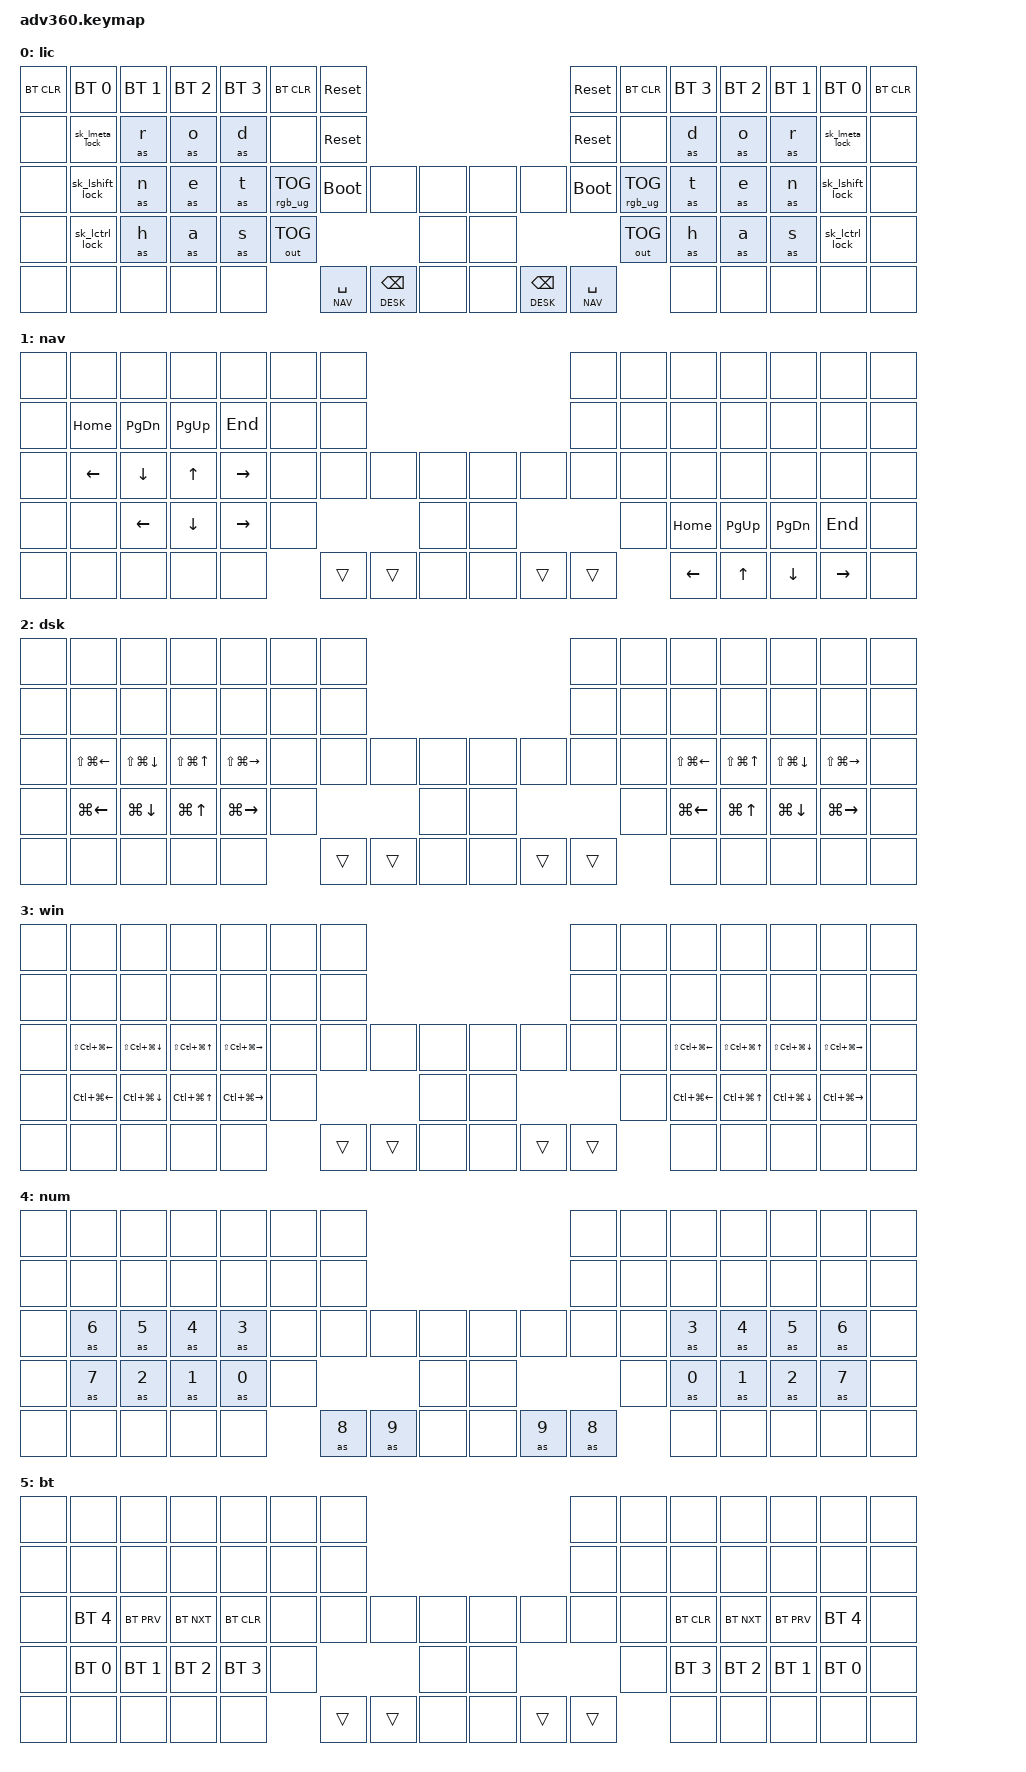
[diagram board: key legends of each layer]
#include <dt-bindings/zmk/backlight.h>
#include <dt-bindings/zmk/rgb.h>
#include <dt-bindings/zmk/outputs.h>
#include <dt-bindings/zmk/bt.h>
#include <dt-bindings/zmk/keys.h>
#include <dt-bindings/zmk/pointing.h>
#include <behaviors.dtsi>

// BOUGIE KEYS
// LEFT SIDE
#define TLP 15
#define TLR 16
#define TLM 17
#define TLI 18
#define HLP 29
#define HLR 30
#define HLM 31
#define HLI 32
#define BLP 43
#define BLR 44
#define BLM 45
#define BLI 46
#define LIT 65
#define LOT 66
// RIGHT SIDE
#define TRP 26
#define TRR 25
#define TRM 24
#define TRI 23
#define HRP 40
#define HRR 41
#define HRM 42
#define HRI 43
#define BRP 54
#define BRR 53
#define BRM 52
#define BRI 51
#define ROT 69
#define RIT 70
// LAYERS
#define DEF  0
#define NAV  1
#define DESK  2
#define WIN  3
#define NUM  4
#define BT   5
// CONFIG
#define COMBO_TIMEOUT 70
#define COMBO_LAYERS DEF NAV DESK WIN NUM BT
#define STICKY_TIMEOUT 1000
#define HOLD_TAP_TIMEOUT 190
// BEHAVIOR REDEFINITIONS
&sk {
    release-after-ms = <STICKY_TIMEOUT>;
    quick-release;
    /delete-property/ ignore-modifiers;
};
&sl {
    release-after-ms = <STICKY_TIMEOUT>;
    quick-release;
    /delete-property/ ignore-modifiers;
};

/ {
    behaviors {
        #include "behaviors.dtsi"
    };

    macros {
        #include "macros.dtsi"
    };

    backlight {
        compatible = "zmk,backlight";
    };

    combos {
        compatible = "zmk,combos";
        #include "combos.dtsi"
    };

    keymap {
        compatible = "zmk,keymap";

        lic {
            display-name = "lic";
            bindings = <
&bt BT_CLR &bt BT_SEL 0       &bt BT_SEL 1 &bt BT_SEL 2 &bt BT_SEL 3 &bt BT_CLR      &sys_reset                                                               &sys_reset   &bt BT_CLR      &bt BT_SEL 3 &bt BT_SEL 2 &bt BT_SEL 1 &bt BT_SEL 0       &bt BT_CLR
&none      &sk_lmeta_lock     &as r        &as o        &as d        &none           &sys_reset                                                               &sys_reset   &none           &as d        &as o        &as r        &sk_lmeta_lock     &none
&none      &sk_lshift_lock    &as n        &as e        &as t        &rgb_ug RGB_TOG &bootloader    &none          &none            &none  &none              &bootloader  &rgb_ug RGB_TOG &as t        &as e        &as n        &sk_lshift_lock    &none
&none      &sk_lctrl_lock     &as h        &as a        &as s        &out OUT_TOG                                  &none            &none                                  &out OUT_TOG    &as h        &as a        &as s        &sk_lctrl_lock     &none
&none      &none              &none        &none        &none                        &lt NAV SPC    &lt DESK BSPC  &none            &none  &lt DESK BSPC      &lt NAV SPC                  &none        &none        &none        &none              &none
            >;
        };

        navigation {
            display-name = "nav";
            bindings = <
&none  &none     &none      &none      &none      &none  &none                                     &none   &none  &none     &none      &none      &none      &none
&none  &kp HOME  &kp PG_DN  &kp PG_UP  &kp END    &none  &none                                     &none   &none  &none     &none      &none      &none      &none
&none  &kp LEFT  &kp DOWN   &kp UP     &kp RIGHT  &none  &none   &none   &none      &none  &none   &none   &none  &none     &none      &none      &none      &none
&none  &none     &kp LEFT   &kp DOWN   &kp RIGHT  &none                  &none      &none                  &none  &kp HOME  &kp PG_UP  &kp PG_DN  &kp END    &none
&none  &none     &none      &none      &none             &trans  &trans  &none      &none  &trans  &trans         &kp LEFT  &kp UP     &kp DOWN   &kp RIGHT  &none
            >;
        };


        desktop {
            display-name = "dsk";
            bindings = <
&none  &none             &none             &none           &none                &none   &none                                &none   &none  &none             &none           &none             &none              &none
&none  &none             &none             &none           &none                &none   &none                                &none   &none  &none             &none           &none             &none              &none
&none  &kp LS(LG(LEFT))  &kp LS(LG(DOWN))  &kp LS(LG(UP))  &kp LS(LG(RIGHT))    &none   &none   &none  &none  &none  &none   &none   &none  &kp LS(LG(LEFT))  &kp LS(LG(UP))  &kp LS(LG(DOWN))  &kp LS(LG(RIGHT))  &none
&none  &kp LG(LEFT)      &kp LG(DOWN)      &kp LG(UP)      &kp LG(RIGHT)        &none                  &none  &none                  &none  &kp LG(LEFT)      &kp LG(UP)      &kp LG(DOWN)      &kp LG(RIGHT)      &none
&none  &none             &none             &none           &none                        &trans  &trans &none  &none  &trans  &trans         &none             &none           &none             &none              &none
            >;
        };

        window {
            display-name = "win";
            bindings = <
&none  &none                  &none                  &none                &none                  &none  &none                                     &none   &none  &none                 &none               &none                 &none                  &none
&none  &none                  &none                  &none                &none                  &none  &none                                     &none   &none  &none                 &none               &none                 &none                  &none
&none  &kp LS(LC(LG(LEFT)))   &kp LS(LC(LG(DOWN)))   &kp LS(LC(LG(UP)))   &kp LS(LC(LG(RIGHT)))  &none  &none   &none   &none      &none  &none   &none   &none  &kp LS(LC(LG(LEFT)))  &kp LS(LC(LG(UP)))  &kp LS(LC(LG(DOWN)))  &kp LS(LC(LG(RIGHT)))  &none
&none  &kp LC(LG(LEFT))       &kp LC(LG(DOWN))       &kp LC(LG(UP))       &kp LC(LG(RIGHT))      &none                  &none      &none                  &none  &kp LC(LG(LEFT))      &kp LC(LG(UP))      &kp LC(LG(DOWN))      &kp LC(LG(RIGHT))      &none
&none  &none                  &none                  &none                &none                         &trans  &trans  &none      &none  &trans  &trans         &none                 &none               &none                 &none                  &none
            >;
        };

        numbers {
            display-name = "num";
            bindings = <
&none  &none   &none   &none   &none   &none  &none                                     &none   &none  &none   &none   &none   &none   &none
&none  &none   &none   &none   &none   &none  &none                                     &none   &none  &none   &none   &none   &none   &none
&none  &as N6  &as N5  &as N4  &as N3  &none  &none   &none   &none      &none  &none   &none   &none  &as N3  &as N4  &as N5  &as N6  &none
&none  &as N7  &as N2  &as N1  &as N0  &none                  &none      &none                  &none  &as N0  &as N1  &as N2  &as N7  &none
&none  &none   &none   &none   &none          &as N8  &as N9  &none      &none  &as N9  &as N8         &none   &none   &none   &none   &none
            >;
        };

        bt {
            display-name = "bt";
            bindings = <
&none  &none         &none         &none         &none         &none  &none                                     &none   &none  &none         &none         &none         &none         &none
&none  &none         &none         &none         &none         &none  &none                                     &none   &none  &none         &none         &none         &none         &none
&none  &bt BT_SEL 4  &bt BT_PRV    &bt BT_NXT    &bt BT_CLR    &none  &none   &none   &none      &none  &none   &none   &none  &bt BT_CLR    &bt BT_NXT    &bt BT_PRV    &bt BT_SEL 4  &none
&none  &bt BT_SEL 0  &bt BT_SEL 1  &bt BT_SEL 2  &bt BT_SEL 3  &none                  &none      &none                  &none  &bt BT_SEL 3  &bt BT_SEL 2  &bt BT_SEL 1  &bt BT_SEL 0  &none
&none  &none         &none         &none         &none                &trans  &trans  &none      &none  &trans  &trans         &none         &none         &none         &none         &none
            >;
        };
    };

    conditional_layers {
        compatible = "zmk,conditional-layers";
        WIN {
            if-layers = <NAV DESK>;
            then-layer = <WIN>;
        };
    };
};
